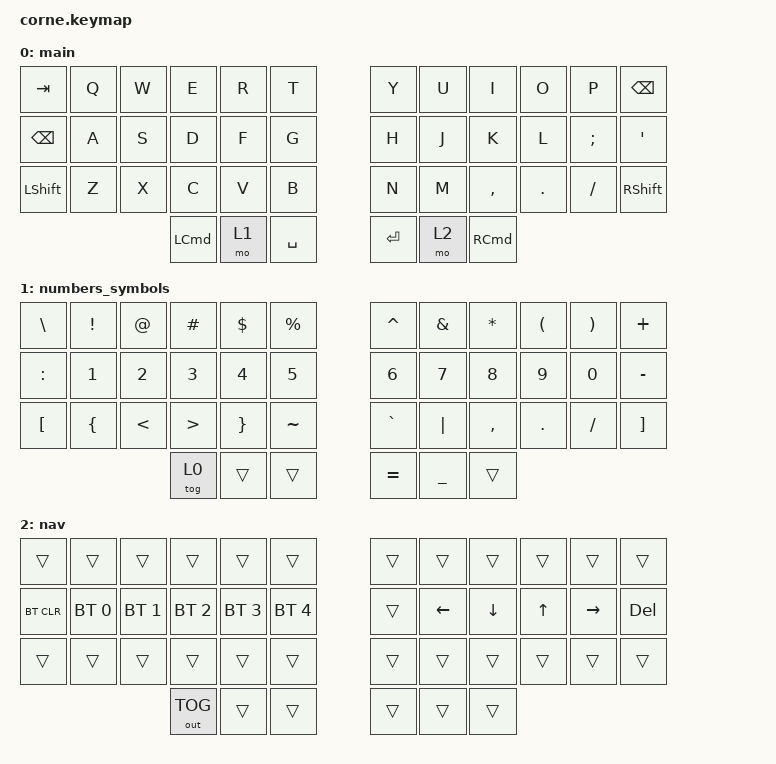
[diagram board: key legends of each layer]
/*
 * Copyright (c) 2020 The ZMK Contributors
 *
 * SPDX-License-Identifier: MIT
 */

#include <behaviors.dtsi>
#include <dt-bindings/zmk/bt.h>
#include <dt-bindings/zmk/keys.h>
#include <dt-bindings/zmk/outputs.h>

/ {
    combos { compatible = "zmk,combos"; };

    keymap {
        compatible = "zmk,keymap";

        main {
            // -----------------------------------------------------------------------------------------
            // |  TAB |  Q  |  W  |  E  |  R  |  T  |   |  Y  |  U   |  I  |  O  |  P  | BSPC |
            // | CTRL |  A  |  S  |  D  |  F  |  G  |   |  H  |  J   |  K  |  L  |  ;  |  '   |
            // | SHFT |  Z  |  X  |  C  |  V  |  B  |   |  N  |  M   |  ,  |  .  |  /  | ESC  |
            //                    | GUI | LWR | SPC |   | ENT | RSE  | ALT |

            bindings = <
&kp TAB         &kp Q  &kp W  &kp E             &kp R  &kp T        &kp Y      &kp U  &kp I              &kp O    &kp P          &kp BACKSPACE
&kp BACKSPACE   &kp A  &kp S  &kp D             &kp F  &kp G        &kp H      &kp J  &kp K              &kp L    &kp SEMICOLON  &kp APOSTROPHE
&kp LEFT_SHIFT  &kp Z  &kp X  &kp C             &kp V  &kp B        &kp N      &kp M  &kp COMMA          &kp DOT  &kp SLASH      &kp RIGHT_SHIFT
                              &kp LEFT_COMMAND  &mo 1  &kp SPACE    &kp ENTER  &mo 2  &kp RIGHT_COMMAND
            >;
        };

        numbers_symbols {
            // -----------------------------------------------------------------------------------------
            // |  TAB |  1  |  2  |  3  |  4  |  5  |   |  6  |  7  |  8  |  9  |  0  | BSPC |
            // | BTCLR| BT1 | BT2 | BT3 | BT4 | BT5 |   | LFT | DWN |  UP | RGT |     |      |
            // | SHFT |     |     |     |     |     |   |     |     |     |     |     |      |
            //                    | GUI |     | SPC |   | ENT |     | ALT |

            bindings = <
&kp BACKSLASH     &kp EXCL        &kp AT         &kp POUND         &kp DOLLAR       &kp PERCENT    &kp CARET  &kp AMPERSAND   &kp ASTERISK  &kp LEFT_PARENTHESIS  &kp RIGHT_PARENTHESIS  &kp PLUS
&kp COLON         &kp NUMBER_1    &kp NUMBER_2   &kp NUMBER_3      &kp NUMBER_4     &kp N5         &kp N6     &kp N7          &kp N8        &kp N9                &kp N0                 &kp MINUS
&kp LEFT_BRACKET  &kp LEFT_BRACE  &kp LESS_THAN  &kp GREATER_THAN  &kp RIGHT_BRACE  &kp TILDE      &kp GRAVE  &kp PIPE        &kp COMMA     &kp PERIOD            &kp SLASH              &kp RIGHT_BRACKET
                                                 &tog 0            &trans           &trans         &kp EQUAL  &kp UNDERSCORE  &trans
            >;
        };

        nav {
            bindings = <
&trans      &trans        &trans        &trans        &trans        &trans          &trans  &trans          &trans    &trans        &trans     &trans
&bt BT_CLR  &bt BT_SEL 0  &bt BT_SEL 1  &bt BT_SEL 2  &bt BT_SEL 3  &bt BT_SEL 4    &trans  &kp LEFT_ARROW  &kp DOWN  &kp UP_ARROW  &kp RIGHT  &kp DELETE
&trans      &trans        &trans        &trans        &trans        &trans          &trans  &trans          &trans    &trans        &trans     &trans
                                        &out OUT_TOG  &trans        &trans          &trans  &trans          &trans
            >;
        };
    };
};
